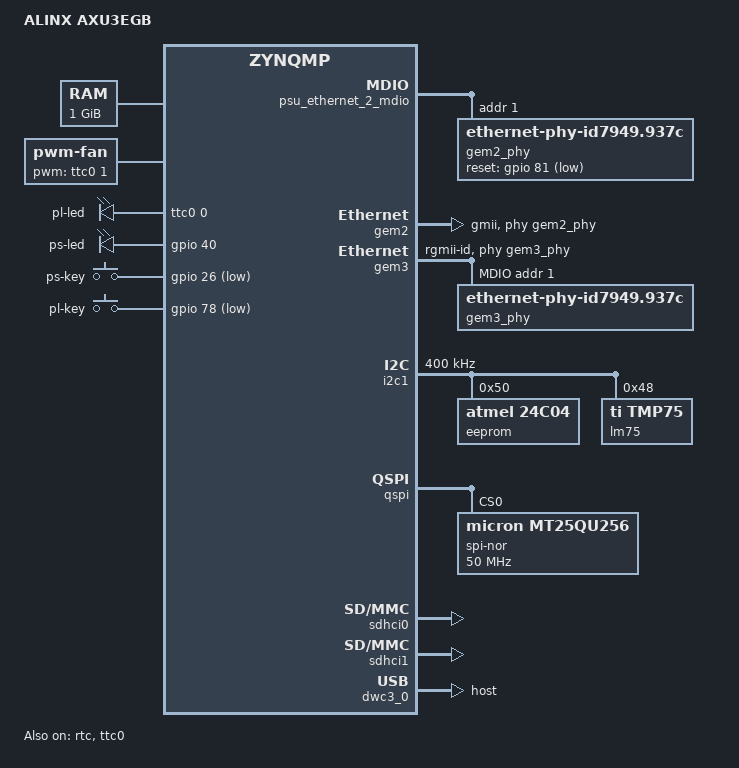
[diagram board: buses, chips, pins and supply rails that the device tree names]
/*
	Author Jacob A. Psimos
*/

#include <dt-bindings/gpio/gpio.h>
#include <dt-bindings/input/input.h>
#include <dt-bindings/interrupt-controller/irq.h>
#include <dt-bindings/pinctrl/pinctrl-zynqmp.h>
#include <dt-bindings/power/xlnx-zynqmp-power.h>
#include <dt-bindings/reset/xlnx-zynqmp-resets.h>

/ {
	model = "ALINX AXU3EGB";
	compatible = "alinx,axu3egb", "xlnx,xczu3eg", "xlnx,zynqmp";
	
	/delete-node/ aliases ;
	
	aliases {
		ethernet0 = &gem2;
		ethernet1 = &gem3;
		i2c0 = &i2c1;
		serial0 = &uart0;
		serial1 = &uart1;
		serial2 = &dcc;
		serial3 = &rs485_axi_uart16550_0;
		serial4 = &rs485_axi_uart16550_1;
		spi0 = &qspi;
	};

	ddr4_0_memory: memory@400000000 {
		compatible = "xlnx,ddr4-2.2";
		xlnx,ip-name = "ddr4";
		device_type = "memory";
		memory_type = "memory";
		reg = <0x00000004 0x00000000 0x0 0x40000000>;
		status = "okay";
	};

	pwm-fan {
		compatible = "pwm-fan";
		pwms = <&ttc0 1 4000000 0>;
	};

	pwm-leds {
		compatible = "pwm-leds";
		
		pl-led {
			pwms = <&ttc0 0 2000000 0>;
			label = "pl-led";
			max-brightness = <255>;
		};
	};

	gpio-leds {
        compatible = "gpio-leds";

        ps-led {
            label = "ps-led";
            gpios = <&gpio 40 GPIO_ACTIVE_HIGH>;
            default-state = "off";
        };
    };
	
    gpio-keys {
		compatible = "gpio-keys";
		autorepeat;

		ps-key {
			label = "ps-key";
			gpios = <&gpio 26 GPIO_ACTIVE_LOW>;
			linux,code = <BTN_0>;
			debounce-interval = <70>;
			wakeup-source;
		};

		pl-key {
			label = "pl-key";
			gpios = <&gpio 78 GPIO_ACTIVE_LOW>;
			linux,code = <BTN_1>;
			debounce-interval = <70>;
		};
    };
};

&rtc {
	status = "okay";
};

&psu_ethernet_2_mdio {
	#address-cells = <1>;
	#size-cells = <0>;
	
	gem2_phy: ethernet-phy@1 {
		compatible = "ethernet-phy-id7949.937c", "ethernet-phy-ieee802.3-c22";
		reg = <1>;
		reset-gpios = <&gpio 81 GPIO_ACTIVE_LOW>;
		reset-assert-us = <10000>;
		reset-deassert-us = <30000>;
		max-speed = <1000>;
	};
};

&gmii_to_rgmii_0 {
	compatible = "xlnx,gmii-to-rgmii-1.0";
	reg = <8>;
	phy-handle = <&gem2_phy>;
};

&gem2 {
	status = "okay";
	phy-mode = "gmii";
	phy-handle = <&gem2_phy>;
	local-mac-address = [52 22 95 00 01 02];
};

&gem3 {
	status = "okay";
	phy-mode = "rgmii-id";
	phy-handle = <&gem3_phy>;
	local-mac-address = [52 22 95 00 01 01];
	
	psu_ethernet_3_mdio: mdio {
		#address-cells = <1>;
		#size-cells = <0>;
		
		gem3_phy: ethernet-phy@1 {
			compatible = "ethernet-phy-id7949.937c", "ethernet-phy-ieee802.3-c22";
			device_type = "ethernet-phy";
			reg = <1>;
			max-speed = <1000>;
		};
	};
};

&i2c1 {
	status = "okay";
	clock-frequency = <400000>;

	eeprom@50 {
		compatible = "atmel,24c04";
		reg = <0x50>;
		pagesize = <16>;
	};

	lm75@48 {
		compatible = "ti,tmp75", "national,lm75";
		reg = <0x48>;
	};
};

&qspi {
	status = "okay";
	
	spi-nor@0 {
		compatible = "micron,mt25qu256", "jedec,spi-nor";
		reg = <0>;
		spi-max-frequency = <50000000>;
		spi-tx-bus-width = <4>;
		spi-rx-bus-width = <4>;
		#address-cells = <1>;
		#size-cells = <1>;
		m25p,fast-read;
	};
};

&gpio {
    status = "okay";
};

&ttc0 {
	status = "okay";
	#pwm-cells = <3>;
};

&sdhci0 {
	status = "okay";
};

&sdhci1 {
	status = "okay";
	no-1-8-v;
};

&dwc3_0 {
	status = "okay";
	dr_mode = "host";
};
